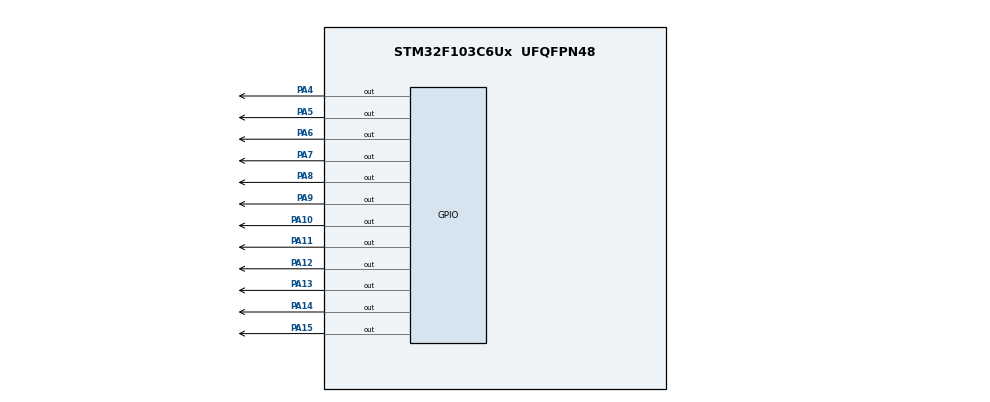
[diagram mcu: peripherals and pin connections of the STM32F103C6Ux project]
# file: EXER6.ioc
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Mcu.Family=STM32F1
Mcu.Name=STM32F103C6Ux
Mcu.Package=UFQFPN48
NVIC.PriorityGroup=NVIC_PRIORITYGROUP_4
PA10.Signal=GPIO_Output
PA11.Signal=GPIO_Output
PA12.Signal=GPIO_Output
PA13.Signal=GPIO_Output
PA14.Signal=GPIO_Output
PA15.Signal=GPIO_Output
PA4.Signal=GPIO_Output
PA5.Signal=GPIO_Output
PA6.Signal=GPIO_Output
PA7.Signal=GPIO_Output
PA8.Signal=GPIO_Output
PA9.Signal=GPIO_Output
ProjectManager.HeapSize=0x200
ProjectManager.StackSize=0x400
ProjectManager.TargetToolchain=STM32CubeIDE
RCC.APB1Freq_Value=8000000
RCC.APB2Freq_Value=8000000
VP_SYS_VS_ND.Mode=No_Debug
board=custom

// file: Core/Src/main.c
/* USER CODE BEGIN Header */
/**
  ******************************************************************************
  * @file           : main.c
  * @brief          : Main program body
  ******************************************************************************
  * @attention
  *
  * <h2><center>&copy; Copyright (c) 2023 STMicroelectronics.
  * All rights reserved.</center></h2>
  *
  * This software component is licensed by ST under BSD 3-Clause license,
  * the "License"; You may not use this file except in compliance with the
  * License. You may obtain a copy of the License at:
  *                        opensource.org/licenses/BSD-3-Clause
  *
  ******************************************************************************
  */
/* USER CODE END Header */
#include "main.h"

void SystemClock_Config(void);
static void MX_GPIO_Init(void);
void setNumberOnClock(int num);
void clearNumberOnClock(int num);
void clearAllClock();
void Display(int h, int m, int s);

/* USER CODE BEGIN 0 */
void setNumberOnClock(int num){
	switch(num){
	case 0:
		HAL_GPIO_WritePin ( GPIOA , GPIO_PIN_4 , RESET ) ;
		break;
	case 1:
		HAL_GPIO_WritePin ( GPIOA , GPIO_PIN_5 , RESET ) ;
		break;
	case 2:
		HAL_GPIO_WritePin ( GPIOA , GPIO_PIN_6 , RESET ) ;
		break;
	case 3:
		HAL_GPIO_WritePin ( GPIOA , GPIO_PIN_7 , RESET ) ;
		break;
	case 4:
		HAL_GPIO_WritePin ( GPIOA , GPIO_PIN_8 , RESET ) ;
		break;
	case 5:
		HAL_GPIO_WritePin ( GPIOA , GPIO_PIN_9 , RESET ) ;
		break;
	case 6:
		HAL_GPIO_WritePin ( GPIOA , GPIO_PIN_10 , RESET ) ;
		break;
	case 7:
		HAL_GPIO_WritePin ( GPIOA , GPIO_PIN_11 , RESET ) ;
		break;
	case 8:
		HAL_GPIO_WritePin ( GPIOA , GPIO_PIN_12 , RESET ) ;
		break;
	case 9:
		HAL_GPIO_WritePin ( GPIOA , GPIO_PIN_13 , RESET ) ;
		break;
	case 10:
		HAL_GPIO_WritePin ( GPIOA , GPIO_PIN_14 , RESET ) ;
		break;
	case 11:
		HAL_GPIO_WritePin ( GPIOA , GPIO_PIN_15 , RESET ) ;
		break;
	}
}

void clearNumberOnClock(int num){
	switch(num){
	case 0:
		HAL_GPIO_WritePin ( GPIOA , GPIO_PIN_4 , SET ) ;
		break;
	case 1:
		HAL_GPIO_WritePin ( GPIOA , GPIO_PIN_5 , SET ) ;
		break;
	case 2:
		HAL_GPIO_WritePin ( GPIOA , GPIO_PIN_6 , SET ) ;
		break;
	case 3:
		HAL_GPIO_WritePin ( GPIOA , GPIO_PIN_7 , SET ) ;
		break;
	case 4:
		HAL_GPIO_WritePin ( GPIOA , GPIO_PIN_8 , SET ) ;
		break;
	case 5:
		HAL_GPIO_WritePin ( GPIOA , GPIO_PIN_9 , SET ) ;
		break;
	case 6:
		HAL_GPIO_WritePin ( GPIOA , GPIO_PIN_10 , SET ) ;
		break;
	case 7:
		HAL_GPIO_WritePin ( GPIOA , GPIO_PIN_11 , SET ) ;
		break;
	case 8:
		HAL_GPIO_WritePin ( GPIOA , GPIO_PIN_12 , SET ) ;
		break;
	case 9:
		HAL_GPIO_WritePin ( GPIOA , GPIO_PIN_13 , SET ) ;
		break;
	case 10:
		HAL_GPIO_WritePin ( GPIOA , GPIO_PIN_14 , SET ) ;
		break;
	case 11:
		HAL_GPIO_WritePin ( GPIOA , GPIO_PIN_15 , SET ) ;
		break;
	}
}

void clearAllClock(){
	  HAL_GPIO_WritePin (GPIOA, GPIO_PIN_4, SET);
	  HAL_GPIO_WritePin (GPIOA, GPIO_PIN_5, SET);
	  HAL_GPIO_WritePin (GPIOA, GPIO_PIN_6, SET);
	  HAL_GPIO_WritePin (GPIOA, GPIO_PIN_7, SET);
	  HAL_GPIO_WritePin (GPIOA, GPIO_PIN_8, SET);
	  HAL_GPIO_WritePin (GPIOA, GPIO_PIN_9, SET);
	  HAL_GPIO_WritePin (GPIOA, GPIO_PIN_10, SET);
	  HAL_GPIO_WritePin (GPIOA, GPIO_PIN_11, SET);
	  HAL_GPIO_WritePin (GPIOA, GPIO_PIN_12, SET);
	  HAL_GPIO_WritePin (GPIOA, GPIO_PIN_13, SET);
	  HAL_GPIO_WritePin (GPIOA, GPIO_PIN_14, SET);
	  HAL_GPIO_WritePin (GPIOA, GPIO_PIN_15, SET);
}

void Display(int h, int m, int s){
	clearAllClock();
	setNumberOnClock(h);
	setNumberOnClock(m/5);
	setNumberOnClock(s/5);
}
/* USER CODE END 0 */

int main(void)
{

  /* MCU Configuration--------------------------------------------------------*/

  /* Reset of all peripherals, Initializes the Flash interface and the Systick. */
  HAL_Init();

  /* Configure the system clock */
  SystemClock_Config();

  /* Initialize all configured peripherals */
  MX_GPIO_Init();
  clearAllClock();
  int hour = 7;
  int min = 19;
  int sec=45;
  /* Infinite loop */
  while (1)
  {
	  if(sec==60){
		  min++;
		  sec = 0;
	  }
	  if(min==60){
		  hour++;
		  min = 0;
	  }
	  if(hour==12){
		  hour = 0;
	  }

	  Display(hour, min, sec);
	  HAL_Delay(1000);
	  sec++;
  }
}

void SystemClock_Config(void)
{
  RCC_OscInitTypeDef RCC_OscInitStruct = {0};
  RCC_ClkInitTypeDef RCC_ClkInitStruct = {0};

  /** Initializes the RCC Oscillators according to the specified parameters
  * in the RCC_OscInitTypeDef structure.
  */
  RCC_OscInitStruct.OscillatorType = RCC_OSCILLATORTYPE_HSI;
  RCC_OscInitStruct.HSIState = RCC_HSI_ON;
  RCC_OscInitStruct.HSICalibrationValue = RCC_HSICALIBRATION_DEFAULT;
  RCC_OscInitStruct.PLL.PLLState = RCC_PLL_NONE;
  if (HAL_RCC_OscConfig(&RCC_OscInitStruct) != HAL_OK)
  {
    Error_Handler();
  }
  /** Initializes the CPU, AHB and APB buses clocks
  */
  RCC_ClkInitStruct.ClockType = RCC_CLOCKTYPE_HCLK|RCC_CLOCKTYPE_SYSCLK
                              |RCC_CLOCKTYPE_PCLK1|RCC_CLOCKTYPE_PCLK2;
  RCC_ClkInitStruct.SYSCLKSource = RCC_SYSCLKSOURCE_HSI;
  RCC_ClkInitStruct.AHBCLKDivider = RCC_SYSCLK_DIV1;
  RCC_ClkInitStruct.APB1CLKDivider = RCC_HCLK_DIV1;
  RCC_ClkInitStruct.APB2CLKDivider = RCC_HCLK_DIV1;

  if (HAL_RCC_ClockConfig(&RCC_ClkInitStruct, FLASH_LATENCY_0) != HAL_OK)
  {
    Error_Handler();
  }
}

static void MX_GPIO_Init(void)
{
  GPIO_InitTypeDef GPIO_InitStruct = {0};

  /* GPIO Ports Clock Enable */
  __HAL_RCC_GPIOA_CLK_ENABLE();

  /*Configure GPIO pin Output Level */
  HAL_GPIO_WritePin(GPIOA, GPIO_PIN_4|GPIO_PIN_5|GPIO_PIN_6|GPIO_PIN_7
                          |GPIO_PIN_8|GPIO_PIN_9|GPIO_PIN_10|GPIO_PIN_11
                          |GPIO_PIN_12|GPIO_PIN_13|GPIO_PIN_14|GPIO_PIN_15, GPIO_PIN_RESET);

  /*Configure GPIO pins : PA4 PA5 PA6 PA7
                           PA8 PA9 PA10 PA11
                           PA12 PA13 PA14 PA15 */
  GPIO_InitStruct.Pin = GPIO_PIN_4|GPIO_PIN_5|GPIO_PIN_6|GPIO_PIN_7
                          |GPIO_PIN_8|GPIO_PIN_9|GPIO_PIN_10|GPIO_PIN_11
                          |GPIO_PIN_12|GPIO_PIN_13|GPIO_PIN_14|GPIO_PIN_15;
  GPIO_InitStruct.Mode = GPIO_MODE_OUTPUT_PP;
  GPIO_InitStruct.Pull = GPIO_NOPULL;
  GPIO_InitStruct.Speed = GPIO_SPEED_FREQ_LOW;
  HAL_GPIO_Init(GPIOA, &GPIO_InitStruct);

}

void Error_Handler(void)
{
  __disable_irq();
  while (1)
  {
  }
}

/************************ (C) COPYRIGHT STMicroelectronics *****END OF FILE****/
